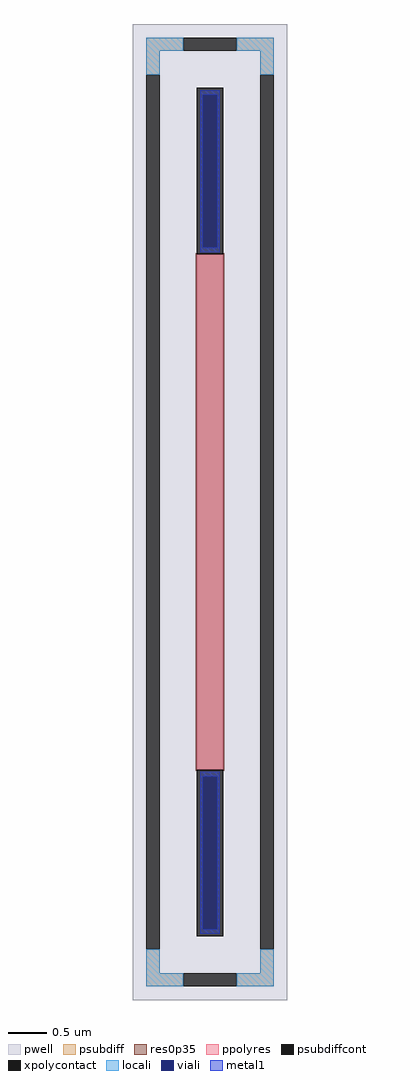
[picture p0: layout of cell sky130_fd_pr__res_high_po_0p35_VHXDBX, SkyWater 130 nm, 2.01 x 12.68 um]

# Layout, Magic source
magic
tech sky130A
magscale 1 2
<< pwell >>
rect -201 -1268 201 1268
<< psubdiff >>
rect -165 1198 -69 1232
rect 69 1198 165 1232
rect -165 1136 -131 1198
rect 131 1136 165 1198
rect -165 -1198 -131 -1136
rect 131 -1198 165 -1136
rect -165 -1232 -69 -1198
rect 69 -1232 165 -1198
<< psubdiffcont >>
rect -69 1198 69 1232
rect -165 -1136 -131 1136
rect 131 -1136 165 1136
rect -69 -1232 69 -1198
<< xpolycontact >>
rect -35 670 35 1102
rect -35 -1102 35 -670
<< ppolyres >>
rect -35 -670 35 670
<< locali >>
rect -165 1198 -69 1232
rect 69 1198 165 1232
rect -165 1136 -131 1198
rect 131 1136 165 1198
rect -165 -1198 -131 -1136
rect 131 -1198 165 -1136
rect -165 -1232 -69 -1198
rect 69 -1232 165 -1198
<< viali >>
rect -19 687 19 1084
rect -19 -1084 19 -687
<< metal1 >>
rect -25 1084 25 1096
rect -25 687 -19 1084
rect 19 687 25 1084
rect -25 675 25 687
rect -25 -687 25 -675
rect -25 -1084 -19 -687
rect 19 -1084 25 -687
rect -25 -1096 25 -1084
<< res0p35 >>
rect -37 -672 37 672
<< properties >>
string FIXED_BBOX -148 -1215 148 1215
string gencell sky130_fd_pr__res_high_po_0p35
string library sky130
string parameters w 0.350 l 6.7 m 1 nx 1 wmin 0.350 lmin 0.50 rho 319.8 val 6.231k dummy 0 dw 0.0 term 19.188 sterm 0.0 caplen 0 guard 1 glc 1 grc 1 gtc 1 gbc 1 compatible {sky130_fd_pr__res_high_po_0p35  sky130_fd_pr__res_high_po_0p69 sky130_fd_pr__res_high_po_1p41  sky130_fd_pr__res_high_po_2p85 sky130_fd_pr__res_high_po_5p73} full_metal 1 wmax 0.350 vias 1 n_guard 0 hv_guard 0 viagb 0 viagt 0 viagl 0 viagr 0
<< end >>
